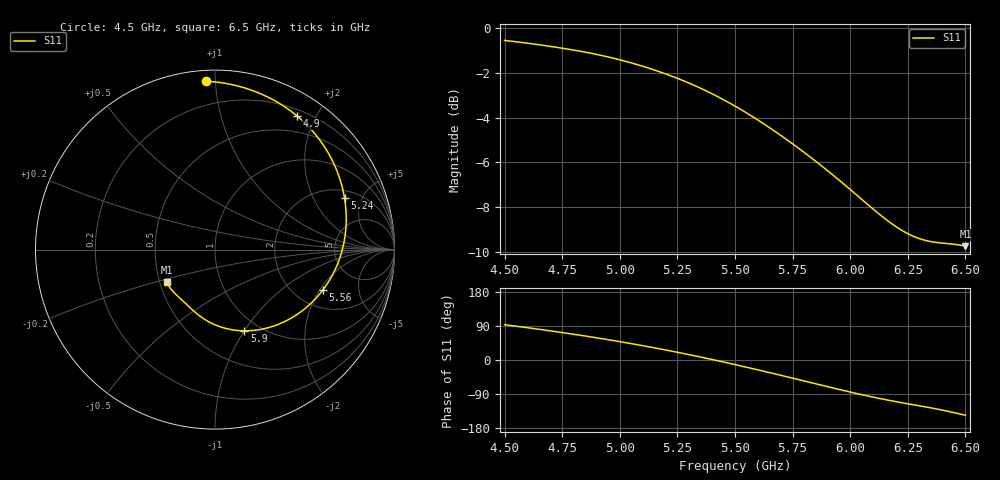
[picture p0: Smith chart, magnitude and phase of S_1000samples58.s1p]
! TOUCHSTONE file generated by CST MICROWAVE STUDIO
! Date and time: Wed Oct 26 20:33:51 2022
! Project name: L.cst
! Parameters = {Di=1.27; Epsilon_r=1.56; InnerDiameter=1.27; Length=2; Lf=10; Lg=60; OuterConductorThickness=0.2921; OuterDiameter=3.6; Wf=3; Wp=41.2; de=1.5; df=6.8; g=0.8; gx=4.4256; gy=3.86494; h=2.34; hf=1.524; px=14.2068; py=11.8882; w=9.7; wx=9.78124; wy=8.02329}
! Header version: 2018
! Port assignment regex: !\s*Touchstone port\s*([0-9]+)\s*=\s*(CST MWS port|CST DS port)\s*([0-9]+|Zmin|Zmax)\s*\(\"(.*)\"\)(\s*mode\s*([0-9]+))?.*
! Touchstone port assignment:
! Touchstone port 1 = CST MWS port 1 ("")
# GHz S DB R 50
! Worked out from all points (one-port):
!   101 points, 4.5 GHz to 6.5 GHz, reference 50 ohm
!   lowest |S11| = -9.7 dB at 6.5 GHz (marker M1), VSWR 1.97, Z = 27.2 - j11.1 ohm
!   |S11| at or under -10 dB: nowhere
!   S11 on the Smith chart (normalised r, x): 4.5 GHz: 0.06, +0.95; 4.9 GHz: 0.28, +1.75; 5.24 GHz: 2.50, +3.59; 5.56 GHz: 2.81, -2.15; 5.9 GHz: 0.85, -1.00; 6.5 GHz: 0.54, -0.22
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4.5  -0.55 93.1
4.56  -0.62 88.4
4.64  -0.72 81.8
4.76  -0.91 71.6
4.84  -1.05 64.3
4.9  -1.17 58.5
5  -1.41 48.4
5.12  -1.77 35.5
5.18  -1.97 28.7
5.24  -2.20 21.6
5.26  -2.28 19.2
5.32  -2.54 11.7
5.38  -2.82 4.0
5.44  -3.14 -3.9
5.5  -3.48 -12.1
5.56  -3.85 -20.4
5.66  -4.52 -34.7
5.72  -4.95 -43.5
5.76  -5.24 -49.4
5.82  -5.71 -58.2
5.9  -6.35 -70.1
6  -7.21 -84.5
6.06  -7.74 -92.8
6.12  -8.26 -100.5
6.18  -8.73 -107.7
6.26  -9.23 -116.6
6.4  -9.60 -132.2
6.5  -9.74 -145.8
